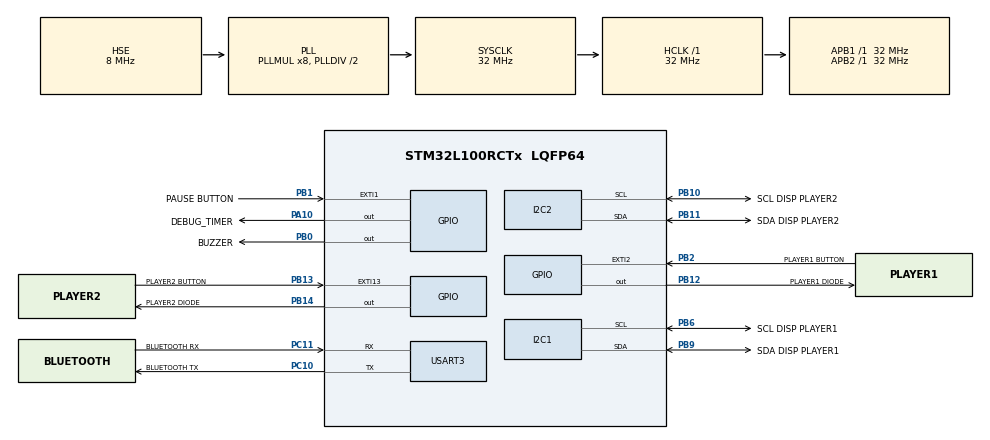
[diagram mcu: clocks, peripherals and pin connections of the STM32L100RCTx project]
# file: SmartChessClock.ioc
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Mcu.Family=STM32L1
Mcu.Name=STM32L100RCTx
Mcu.Package=LQFP64
NVIC.EXTI15_10_IRQn=true\:1\:0\:true\:true\:true\:4\:true
NVIC.EXTI1_IRQn=true\:1\:0\:true\:true\:true\:8\:true
NVIC.EXTI2_IRQn=true\:1\:0\:true\:true\:true\:7\:true
NVIC.PriorityGroup=NVIC_PRIORITYGROUP_4
NVIC.TIM10_IRQn=true\:0\:0\:false\:true\:true\:5\:true
NVIC.TIM2_IRQn=true\:1\:0\:true\:true\:true\:1\:true
NVIC.TIM3_IRQn=true\:1\:0\:true\:true\:true\:2\:true
NVIC.TIM6_IRQn=true\:0\:0\:false\:true\:true\:3\:true
NVIC.TIM9_IRQn=true\:1\:0\:true\:true\:true\:6\:true
PA10.GPIO_Label=DEBUG_TIMER
PA10.Signal=GPIO_Output
PB0.GPIO_Label=BUZZER
PB0.GPIO_Speed=GPIO_SPEED_FREQ_VERY_HIGH
PB0.PinState=GPIO_PIN_RESET
PB0.Signal=GPIO_Output
PB1.GPIO_Label=PAUSE BUTTON
PB1.GPIO_ModeDefaultEXTI=GPIO_MODE_IT_FALLING
PB1.GPIO_PuPd=GPIO_PULLUP
PB1.Signal=GPXTI1
PB10.GPIO_Label=SCL DISP PLAYER2
PB10.Mode=I2C
PB10.Signal=I2C2_SCL
PB11.GPIO_Label=SDA DISP PLAYER2
PB11.Mode=I2C
PB11.Signal=I2C2_SDA
PB12.GPIO_Label=PLAYER1 DIODE
PB12.GPIO_ModeDefaultOutputPP=GPIO_MODE_OUTPUT_PP
PB12.GPIO_PuPd=GPIO_NOPULL
PB12.GPIO_Speed=GPIO_SPEED_FREQ_LOW
PB12.PinState=GPIO_PIN_RESET
PB12.Signal=GPIO_Output
PB13.GPIO_Label=PLAYER2 BUTTON
PB13.GPIO_ModeDefaultEXTI=GPIO_MODE_IT_FALLING
PB13.GPIO_PuPd=GPIO_PULLUP
PB13.Signal=GPXTI13
PB14.GPIO_Label=PLAYER2 DIODE
PB14.GPIO_PuPd=GPIO_NOPULL
PB14.PinState=GPIO_PIN_RESET
PB14.Signal=GPIO_Output
PB2.GPIO_Label=PLAYER1 BUTTON
PB2.GPIO_ModeDefaultEXTI=GPIO_MODE_IT_FALLING
PB2.GPIO_PuPd=GPIO_PULLUP
PB2.Signal=GPXTI2
PB6.GPIO_Label=SCL DISP PLAYER1
PB6.Mode=I2C
PB6.Signal=I2C1_SCL
PB9.GPIO_Label=SDA DISP PLAYER1
PB9.Mode=I2C
PB9.Signal=I2C1_SDA
PC10.GPIO_Label=BLUETOOTH TX
PC10.Mode=Asynchronous
PC10.Signal=USART3_TX
PC11.GPIO_Label=BLUETOOTH RX
PC11.Mode=Asynchronous
PC11.Signal=USART3_RX
PH0-OSC_IN.Mode=HSE-External-Oscillator
PH0-OSC_IN.Signal=RCC_OSC_IN
PH1-OSC_OUT.Mode=HSE-External-Oscillator
PH1-OSC_OUT.Signal=RCC_OSC_OUT
ProjectManager.HeapSize=0x200
ProjectManager.StackSize=0x400
ProjectManager.TargetToolchain=SW4STM32
RCC.48MHZClocksFreq_Value=32000000
RCC.AHBFreq_Value=32000000
RCC.APB1Freq_Value=32000000
RCC.APB1TimFreq_Value=32000000
RCC.APB2Freq_Value=32000000
RCC.APB2TimFreq_Value=32000000
RCC.HCLKFreq_Value=32000000
RCC.HSE_VALUE=8000000
RCC.HSI_VALUE=16000000
RCC.LSE_VALUE=32768
RCC.MSI_VALUE=2097000
RCC.PLLMUL=RCC_PLL_MUL8
RCC.PLLSourceVirtual=RCC_PLLSOURCE_HSE
RCC.SYSCLKFreq_VALUE=32000000
RCC.SYSCLKSource=RCC_SYSCLKSOURCE_PLLCLK
RCC.VCOOutputFreq_Value=64000000
TIM10.Period=499
TIM10.Prescaler=159
TIM2.Period=999
TIM2.Prescaler=15
TIM3.Period=999
TIM3.Prescaler=159
TIM6.Period=9999
TIM6.Prescaler=799
TIM9.Period=999
TIM9.Prescaler=15
USART3.VirtualMode=VM_ASYNC
VP_TIM10_VS_ClockSourceINT.Mode=Internal
VP_TIM2_VS_ClockSourceINT.Mode=Internal
VP_TIM3_VS_ClockSourceINT.Mode=Internal
VP_TIM6_VS_ClockSourceINT.Mode=Enable_Timer
VP_TIM9_VS_ClockSourceINT.Mode=Internal
board=custom

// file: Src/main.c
/**
  ******************************************************************************
  * @file           : main.c
  * @brief          : Main program body
  ******************************************************************************
  ** This notice applies to any and all portions of this file
  * that are not between comment pairs USER CODE BEGIN and
  * USER CODE END. Other portions of this file, whether
  * inserted by the user or by software development tools
  * are owned by their respective copyright owners.
  *
  * COPYRIGHT(c) 2019 STMicroelectronics
  *
  * Redistribution and use in source and binary forms, with or without modification,
  * are permitted provided that the following conditions are met:
  *   1. Redistributions of source code must retain the above copyright notice,
  *      this list of conditions and the following disclaimer.
  *   2. Redistributions in binary form must reproduce the above copyright notice,
  *      this list of conditions and the following disclaimer in the documentation
  *      and/or other materials provided with the distribution.
  *   3. Neither the name of STMicroelectronics nor the names of its contributors
  *      may be used to endorse or promote products derived from this software
  *      without specific prior written permission.
  *
  * THIS SOFTWARE IS PROVIDED BY THE COPYRIGHT HOLDERS AND CONTRIBUTORS "AS IS"
  * AND ANY EXPRESS OR IMPLIED WARRANTIES, INCLUDING, BUT NOT LIMITED TO, THE
  * IMPLIED WARRANTIES OF MERCHANTABILITY AND FITNESS FOR A PARTICULAR PURPOSE ARE
  * DISCLAIMED. IN NO EVENT SHALL THE COPYRIGHT HOLDER OR CONTRIBUTORS BE LIABLE
  * FOR ANY DIRECT, INDIRECT, INCIDENTAL, SPECIAL, EXEMPLARY, OR CONSEQUENTIAL
  * DAMAGES (INCLUDING, BUT NOT LIMITED TO, PROCUREMENT OF SUBSTITUTE GOODS OR
  * SERVICES; LOSS OF USE, DATA, OR PROFITS; OR BUSINESS INTERRUPTION) HOWEVER
  * CAUSED AND ON ANY THEORY OF LIABILITY, WHETHER IN CONTRACT, STRICT LIABILITY,
  * OR TORT (INCLUDING NEGLIGENCE OR OTHERWISE) ARISING IN ANY WAY OUT OF THE USE
  * OF THIS SOFTWARE, EVEN IF ADVISED OF THE POSSIBILITY OF SUCH DAMAGE.
  *
  ******************************************************************************
  */
#include "main.h"
#include "stm32l1xx_hal.h"

/* USER CODE BEGIN Includes */
#include "time.h"
#include "bluetooth.h"
#include "ledDisplay1.h"
#include "ledDisplay2.h"
/* USER CODE END Includes */

I2C_HandleTypeDef hi2c1;
I2C_HandleTypeDef hi2c2;

TIM_HandleTypeDef htim2;
TIM_HandleTypeDef htim3;
TIM_HandleTypeDef htim6;
TIM_HandleTypeDef htim9;
TIM_HandleTypeDef htim10;

UART_HandleTypeDef huart3;

/* USER CODE BEGIN PV */
/* Private variables ---------------------------------------------------------*/

//PREPROCESOR
#define UI_PLAYER1_DIODE_ON		HAL_GPIO_WritePin(GPIOB, GPIO_PIN_12, GPIO_PIN_SET)		//Turning on player 1 diode
#define UI_PLAYER1_DIODE_OFF	HAL_GPIO_WritePin(GPIOB, GPIO_PIN_12, GPIO_PIN_RESET)	//Turning off player 1 diode
#define UI_PLAYER1_BUTTON		GPIO_PIN_2												//Player 1 button handle

#define UI_PLAYER2_DIODE_ON		HAL_GPIO_WritePin(GPIOB, GPIO_PIN_14, GPIO_PIN_SET)		//Turning on player 2 diode
#define UI_PLAYER2_DIODE_OFF	HAL_GPIO_WritePin(GPIOB, GPIO_PIN_14, GPIO_PIN_RESET)	//Turning off player 2 diode
#define UI_PLAYER2_BUTTON		GPIO_PIN_13												//Player 2 button handle

#define DEBUG_DIODE_ON			HAL_GPIO_WritePin(GPIOC, GPIO_PIN_8, GPIO_PIN_SET)		//Turning on the blue diode on board
#define DEBUG_DIODE_OFF			HAL_GPIO_WritePin(GPIOC, GPIO_PIN_8, GPIO_PIN_RESET)	//Turning off the blue diode on board
#define DEBUG_DIODE_TOGGLE		HAL_GPIO_TogglePin(GPIOC, GPIO_PIN_8)
#define UI_PAUSE_BUTTON			GPIO_PIN_1												//Pause button handle

#define BUZZER_ON				HAL_GPIO_WritePin(GPIOB, GPIO_PIN_0, GPIO_PIN_SET)		//Turning on buzzer
#define BUZZER_OFF				HAL_GPIO_WritePin(GPIOB, GPIO_PIN_0, GPIO_PIN_RESET)	//Turning off buzzer

//ZMIENNE GLOBALNE
extern struct _preset presets[NUMBER_OF_PRESETS]; //From the file time.h
extern struct _time PLAYER1_TIME;
extern struct _time PLAYER2_TIME;

uint8_t _player1Increment;			//Holds the amount of time in seconds to increment for player 1
uint8_t _player2Increment;			//Holds the amount of time in seconds to increment for player 2
volatile uint8_t _currentPlayer;	//Indicates the current player to move (1/2)
volatile uint8_t _pause = 1;		//Indicates if the clock is paused (1) or not (0)
volatile uint8_t _gameOver = 0;		//Indicates if one of players time ran out
volatile uint8_t _refresh = 0;		//Used for refreshing the LED displays
volatile int8_t _presetSelect = 0;	//Used as a index for the array of presets and as an indicator to different phases of selecting a preset
volatile uint8_t _displayOn;		//Indicates if the displays are on or off

/* USER CODE END PV */

void SystemClock_Config(void);
static void MX_GPIO_Init(void);
static void MX_TIM2_Init(void);
static void MX_I2C2_Init(void);
static void MX_I2C1_Init(void);
static void MX_TIM3_Init(void);
static void MX_TIM9_Init(void);
static void MX_TIM10_Init(void);
static void MX_USART3_UART_Init(void);
static void MX_TIM6_Init(void);
static void MX_NVIC_Init(void);

/* USER CODE BEGIN PFP */
/* Private function prototypes -----------------------------------------------*/

/* FUNCTIONS FOR MEASURING AND MANAGING TIME----------------------------------*/
void setClocks(int presetIndex)						//Funkcja ustawia czas obu zegarów z numeru presetu
{
	PLAYER1_TIME.minutes = 		presets[presetIndex].time.minutes;
	PLAYER1_TIME.seconds = 		presets[presetIndex].time.seconds;
	PLAYER1_TIME.miliseconds = 	presets[presetIndex].time.miliseconds;

	PLAYER2_TIME.minutes = 		presets[presetIndex].time.minutes;
	PLAYER2_TIME.seconds = 		presets[presetIndex].time.seconds;
	PLAYER2_TIME.miliseconds = 	presets[presetIndex].time.miliseconds;

	_player1Increment = presets[presetIndex].player1Increment;
	_player2Increment = presets[presetIndex].player2Increment;
}

void clockTick()	//Invokes all logic behind reducing player's to move time
{
	if(_currentPlayer == 1)
	{
		if(decrement(&PLAYER1_TIME) == 0)
		{
			;
		}
		else	//Player 1 has ran out of time
		{

			//TIM6 interrupts upon starting! That's super intended (feature) !!!
			HAL_TIM_Base_Start_IT(&htim6);	//Starts a timer that will make buzzer stop beeping and beep again a couple times

			_pause = 1;
			_gameOver = 1;
			HAL_TIM_Base_Stop_IT(&htim2);
			HAL_TIM_Base_Stop_IT(&htim9);

		}
	}

	else if(_currentPlayer == 2)
	{
		if(decrement(&PLAYER2_TIME) == 0)
		{
			;
		}
		else	//Player 2 has ran out of time
		{
			//TIM6 interrupts upon starting! That's super intended (feature) !!!
			HAL_TIM_Base_Start_IT(&htim6);	//Starts a timer that will make buzzer stop beeping and beep again a couple times

			_pause = 1;
			_gameOver = 1;
			HAL_TIM_Base_Stop_IT(&htim2);
			HAL_TIM_Base_Stop_IT(&htim9);
		}
	}
}

void clockIncrement()	//FUNCKJA INKREMENTUJĄCA CZAS ZEGARA WYWO�?YWANA W PRZERWANIU PRZYCISKÓW i całą logikę z tym związaną
{
	if(_pause == 0)	//If the game is not paused we perform incrementation of time
	{

	if(_currentPlayer == 1)
		increment(&PLAYER1_TIME, _player1Increment);

	else if(_currentPlayer == 2)
		increment(&PLAYER2_TIME, _player2Increment);

	}
}

void incrementPreset()		//Funkcja inkrementująca kursor presetu
{
	if(_presetSelect < NUMBER_OF_PRESETS)
		_presetSelect++;

	else if(_presetSelect == NUMBER_OF_PRESETS)
		_presetSelect = 0;
}

void decrementPreset()		//Funkcja dekrementująca kursor presetu
{
	if(_presetSelect > 0)
		_presetSelect--;

	else if(_presetSelect == 0)
		_presetSelect = NUMBER_OF_PRESETS;
}

/*-------------------------------------------------------------------------------------------------
FUNKCJE UI I PRZERWANIA--------------------------------------------------------------------------*/
void onDisplays()
{
	tm1637SetBrightness('8');
	tm1637SetBrightness2('8');
	_displayOn = 1;
}

void offDisplays()
{
	tm1637SetBrightness('0');
	tm1637SetBrightness2('0');
	_displayOn = 0;
}

void buzzerBeeper()
{
	static int beepCounter = 0;

	if(beepCounter % 2 == 0)	//if there is no beep
		BUZZER_ON;
	else
		BUZZER_OFF;

	++beepCounter;

	if(beepCounter >= 6)
		HAL_TIM_Base_Stop_IT(&htim6);
}

int timeToDisplay(struct _time* clock)	//Fukcja zwraca integera do wyświetlenia na ekranie
{
	if(clock->seconds < 10)
		return clock.seconds * 100 + clock.miliseconds / 10;

	else
		return clock->minutes * 100 + clock->seconds;
}

void switchTimer()				//Funkcja przełączająca timer podczas pauzowania/wznawiania gry
{
	if(_gameOver == 0)
	{
	   	DEBUG_DIODE_TOGGLE;

	   	if(_pause == 1)								//Wnowienie gry po zatrzymaniu
	   	{
	   		_pause = 0;

	   		if(_currentPlayer == 1)
	   		{
	   			HAL_TIM_Base_Start_IT(&htim2);		//Wznowienie timera odmierzającego czas graczowi 1
	   		}
	   		else if(_currentPlayer == 2)
	   		{
	   			HAL_TIM_Base_Start_IT(&htim9);
	   		}

	   	}

	   	else if(_pause == 0)						//Spauzowanie gry
	   	{
	   		_pause = 1;
	   		HAL_TIM_Base_Stop_IT(&htim2);			//Zatrzymanie timera odmierzającego czas
	   		HAL_TIM_Base_Stop_IT(&htim9);
	  	}
	 }
}

void switchPlayers()				//Funkcja zmienajaca któremu graczowi ma uplywac czas
{
	if(_gameOver == 0)				//Jeżeli gra nie dobiegła jeszcze końca
	{
		if(_currentPlayer == 1)
		{
			UI_PLAYER1_DIODE_OFF;
			UI_PLAYER2_DIODE_ON;
			clockIncrement();	//Inkrementacja czasu jest w osobnej funkcji żeby umożliwic zmianę graczy na pauzie bez dodawania czasu
			_currentPlayer = 2;
			return;
		}

		if(_currentPlayer == 2)
		{
			UI_PLAYER1_DIODE_ON;
			UI_PLAYER2_DIODE_OFF;
			clockIncrement();
			_currentPlayer = 1;
			return;
		}
	}
}

void HAL_GPIO_EXTI_Callback(uint16_t GPIO_Pin) 	//Przerwania GPIO
{
   	if(GPIO_Pin == UI_PAUSE_BUTTON)				//Wcisniecie przycisku START/STOP
   			HAL_TIM_Base_Start_IT(&htim10);

   	if(GPIO_Pin == UI_PLAYER1_BUTTON)			//Wcisniecie przycisku PLAYER1
   			HAL_TIM_Base_Start_IT(&htim10);

   	if(GPIO_Pin == UI_PLAYER2_BUTTON)			//Wcisniecie przycisku PLAYER2
   			HAL_TIM_Base_Start_IT(&htim10);
}

void HAL_TIM_PeriodElapsedCallback(TIM_HandleTypeDef *htim)	//Przerwania Timerów
{
   	if(htim->Instance == TIM2)	//Przepełnienie timera nr 2 -> upłynięcie milisekundy gracza 1
         clockTick();
         //HAL_GPIO_TogglePin(GPIOA, GPIO_PIN_10);	Można na oscyloskopie sprawdzic, czy timer odmierza dokładnie 1 ms

   	if(htim->Instance == TIM9)	//Przepełnienie timera nr 9 -> upłynięcie milisekundy gracza 2
   	     clockTick();

   	if(htim->Instance == TIM3)	//Przepełnienie timera nr 3 -> odświeżenie wyświetlaczy
   		_refresh = 1;

   	if(htim->Instance == TIM6)	//BEEP BOOP na koniec gry
   		buzzerBeeper();

   	if(htim->Instance == TIM10)	//Przepełnienie timera nr 10 -> debouncing przycisków
   	{
   		//FUNKCJA RESET - WSZYSTKIE TRZY PRZYCISKI WCIŚNI�?TE
   		if(HAL_GPIO_ReadPin(GPIOB, UI_PAUSE_BUTTON) == GPIO_PIN_RESET && HAL_GPIO_ReadPin(GPIOB, UI_PLAYER1_BUTTON) == GPIO_PIN_RESET && HAL_GPIO_ReadPin(GPIOB, UI_PLAYER2_BUTTON) == GPIO_PIN_RESET)
   		{
   			//Na razie programowo
   			int i;
   			for(i = 0; i < 1000000; ++i);

   			NVIC_SystemReset();
   		}

   		if(HAL_GPIO_ReadPin(GPIOB, UI_PAUSE_BUTTON) == GPIO_PIN_RESET)			//Przycisk pauzy
   		{
   			if(_presetSelect != -1)		//Wciśnięcie przysicku pauzy rozpoczyna rozgrywkę
   			{
   				setClocks(_presetSelect);
   				_presetSelect = -1;
   				_pause = 1;
   			}

   			else
   				switchTimer();
   		}

   		if(HAL_GPIO_ReadPin(GPIOB, UI_PLAYER1_BUTTON) == GPIO_PIN_RESET)		//Gracz 1
   		{
   			if(_presetSelect != -1)
   				decrementPreset();

   			else if(_currentPlayer == 1)
   			   	switchPlayers();
   		}

   		if(HAL_GPIO_ReadPin(GPIOB, UI_PLAYER2_BUTTON) == GPIO_PIN_RESET)		//Gracz 2
   		{
   			if(_presetSelect != -1)
   			   	incrementPreset();

   			else if(_currentPlayer == 2)
   				switchPlayers();
   		}

   	   	HAL_TIM_Base_Stop_IT(&htim10);
   	   	TIM10->CNT = 0;
   	}
}
/* USER CODE END PFP */

int main(void)
{

  /* MCU Configuration----------------------------------------------------------*/

  /* Reset of all peripherals, Initializes the Flash interface and the Systick. */
  HAL_Init();

  /* Configure the system clock */
  SystemClock_Config();

  /* Initialize all configured peripherals */
  MX_GPIO_Init();
  MX_TIM2_Init();
  MX_I2C2_Init();
  MX_I2C1_Init();
  MX_TIM3_Init();
  MX_TIM9_Init();
  MX_TIM10_Init();
  MX_USART3_UART_Init();
  MX_TIM6_Init();

  /* Initialize interrupts */
  MX_NVIC_Init();
  /* USER CODE BEGIN 2 */

  //INICJALIACJA WYŚWIETLACZY I EXTI
  tm1637Init();
  tm1637Init2();
  onDisplays();										//Włączenie obu wyświetlaczy
  __HAL_GPIO_EXTI_CLEAR_IT(UI_PLAYER1_BUTTON);		//Odświeżenie EXTI
  __HAL_GPIO_EXTI_CLEAR_IT(UI_PLAYER2_BUTTON);
  __HAL_GPIO_EXTI_CLEAR_IT(UI_PAUSE_BUTTON);

  //TIM6 interrupts upon starting! That's super intended (feature) !!!
  //Clearing the interrupt flags after timer inits ensures that timer interrupts won't be triggered uopn starting the timers
  __HAL_TIM_CLEAR_FLAG(&htim2, TIM_SR_UIF);
  __HAL_TIM_CLEAR_FLAG(&htim3, TIM_SR_UIF);
  __HAL_TIM_CLEAR_FLAG(&htim9, TIM_SR_UIF);
  __HAL_TIM_CLEAR_FLAG(&htim10, TIM_SR_UIF);

  //INICJALIZACJA ZEGARA---------------------------------------------------------------------------
  presetInit();						//Wypełnienie pamięci presetami
  HAL_TIM_Base_Start_IT(&htim3);	//Uruchomienie timera odświeżającego wyświetlacze

  //WYBÓR PRESETU CZASOWEGO------------------------------------------------------------------------
  while(1)		//Wciśnięcie przycisku pauzy rozpocznie rozgrywkę z wybranym presetem
  {
	  if(_refresh == 1)
	  {
		  tm1637DisplayDecimal(_presetSelect + 1, 0);
		  tm1637DisplayDecimal2(presets[_presetSelect].time.minutes * 100 + presets[_presetSelect].player1Increment, 1);
	  	  _refresh = 0;
	  }

	  if(_presetSelect == -1)
		  break;
  }

  _currentPlayer = 1;				//Domyślnie gracz 1 "ma ruch"
  UI_PLAYER1_DIODE_ON;				//Włączenie diody gracza 1

  /* USER CODE END 2 */

  /* Infinite loop */
  /* USER CODE BEGIN WHILE */

  //ROZGRYWKA--------------------------------------------------------------------------------------
  while (1)
  {

  /* USER CODE END WHILE */

  /* USER CODE BEGIN 3 */
	  if(_refresh == 1)
	  {
		  tm1637DisplayDecimal(timeToDisplay(&PLAYER1_TIME), !((PLAYER1_TIME.miliseconds / 500) && (_currentPlayer == 1)) || _pause);
		  tm1637DisplayDecimal2(timeToDisplay(&PLAYER2_TIME), !((PLAYER2_TIME.miliseconds / 500) && (_currentPlayer == 2)) || _pause);
		  _refresh = 0;
	  }
  }
  /* USER CODE END 3 */

}

void SystemClock_Config(void)
{

  RCC_OscInitTypeDef RCC_OscInitStruct;
  RCC_ClkInitTypeDef RCC_ClkInitStruct;

    /**Configure the main internal regulator output voltage
    */
  __HAL_PWR_VOLTAGESCALING_CONFIG(PWR_REGULATOR_VOLTAGE_SCALE1);

    /**Initializes the CPU, AHB and APB busses clocks
    */
  RCC_OscInitStruct.OscillatorType = RCC_OSCILLATORTYPE_HSE;
  RCC_OscInitStruct.HSEState = RCC_HSE_ON;
  RCC_OscInitStruct.PLL.PLLState = RCC_PLL_ON;
  RCC_OscInitStruct.PLL.PLLSource = RCC_PLLSOURCE_HSE;
  RCC_OscInitStruct.PLL.PLLMUL = RCC_PLL_MUL8;
  RCC_OscInitStruct.PLL.PLLDIV = RCC_PLL_DIV2;
  if (HAL_RCC_OscConfig(&RCC_OscInitStruct) != HAL_OK)
  {
    _Error_Handler(__FILE__, __LINE__);
  }

    /**Initializes the CPU, AHB and APB busses clocks
    */
  RCC_ClkInitStruct.ClockType = RCC_CLOCKTYPE_HCLK|RCC_CLOCKTYPE_SYSCLK
                              |RCC_CLOCKTYPE_PCLK1|RCC_CLOCKTYPE_PCLK2;
  RCC_ClkInitStruct.SYSCLKSource = RCC_SYSCLKSOURCE_PLLCLK;
  RCC_ClkInitStruct.AHBCLKDivider = RCC_SYSCLK_DIV1;
  RCC_ClkInitStruct.APB1CLKDivider = RCC_HCLK_DIV1;
  RCC_ClkInitStruct.APB2CLKDivider = RCC_HCLK_DIV1;

  if (HAL_RCC_ClockConfig(&RCC_ClkInitStruct, FLASH_LATENCY_1) != HAL_OK)
  {
    _Error_Handler(__FILE__, __LINE__);
  }

    /**Configure the Systick interrupt time
    */
  HAL_SYSTICK_Config(HAL_RCC_GetHCLKFreq()/1000);

    /**Configure the Systick
    */
  HAL_SYSTICK_CLKSourceConfig(SYSTICK_CLKSOURCE_HCLK);

  /* SysTick_IRQn interrupt configuration */
  HAL_NVIC_SetPriority(SysTick_IRQn, 0, 0);
}

/**
  * @brief NVIC Configuration.
  * @retval None
  */
static void MX_NVIC_Init(void)
{
  /* TIM2_IRQn interrupt configuration */
  HAL_NVIC_SetPriority(TIM2_IRQn, 1, 0);
  HAL_NVIC_EnableIRQ(TIM2_IRQn);
  /* TIM3_IRQn interrupt configuration */
  HAL_NVIC_SetPriority(TIM3_IRQn, 1, 0);
  HAL_NVIC_EnableIRQ(TIM3_IRQn);
  /* TIM6_IRQn interrupt configuration */
  HAL_NVIC_SetPriority(TIM6_IRQn, 0, 0);
  HAL_NVIC_EnableIRQ(TIM6_IRQn);
  /* EXTI15_10_IRQn interrupt configuration */
  HAL_NVIC_SetPriority(EXTI15_10_IRQn, 1, 0);
  HAL_NVIC_EnableIRQ(EXTI15_10_IRQn);
  /* TIM10_IRQn interrupt configuration */
  HAL_NVIC_SetPriority(TIM10_IRQn, 0, 0);
  HAL_NVIC_EnableIRQ(TIM10_IRQn);
  /* TIM9_IRQn interrupt configuration */
  HAL_NVIC_SetPriority(TIM9_IRQn, 1, 0);
  HAL_NVIC_EnableIRQ(TIM9_IRQn);
  /* EXTI2_IRQn interrupt configuration */
  HAL_NVIC_SetPriority(EXTI2_IRQn, 1, 0);
  HAL_NVIC_EnableIRQ(EXTI2_IRQn);
  /* EXTI1_IRQn interrupt configuration */
  HAL_NVIC_SetPriority(EXTI1_IRQn, 1, 0);
  HAL_NVIC_EnableIRQ(EXTI1_IRQn);
}

/* I2C1 init function */
static void MX_I2C1_Init(void)
{

  hi2c1.Instance = I2C1;
  hi2c1.Init.ClockSpeed = 100000;
  hi2c1.Init.DutyCycle = I2C_DUTYCYCLE_2;
  hi2c1.Init.OwnAddress1 = 0;
  hi2c1.Init.AddressingMode = I2C_ADDRESSINGMODE_7BIT;
  hi2c1.Init.DualAddressMode = I2C_DUALADDRESS_DISABLE;
  hi2c1.Init.OwnAddress2 = 0;
  hi2c1.Init.GeneralCallMode = I2C_GENERALCALL_DISABLE;
  hi2c1.Init.NoStretchMode = I2C_NOSTRETCH_DISABLE;
  if (HAL_I2C_Init(&hi2c1) != HAL_OK)
  {
    _Error_Handler(__FILE__, __LINE__);
  }

}

/* I2C2 init function */
static void MX_I2C2_Init(void)
{

  hi2c2.Instance = I2C2;
  hi2c2.Init.ClockSpeed = 100000;
  hi2c2.Init.DutyCycle = I2C_DUTYCYCLE_2;
  hi2c2.Init.OwnAddress1 = 0;
  hi2c2.Init.AddressingMode = I2C_ADDRESSINGMODE_7BIT;
  hi2c2.Init.DualAddressMode = I2C_DUALADDRESS_DISABLE;
  hi2c2.Init.OwnAddress2 = 0;
  hi2c2.Init.GeneralCallMode = I2C_GENERALCALL_DISABLE;
  hi2c2.Init.NoStretchMode = I2C_NOSTRETCH_DISABLE;
  if (HAL_I2C_Init(&hi2c2) != HAL_OK)
  {
    _Error_Handler(__FILE__, __LINE__);
  }

}

/* TIM2 init function */
static void MX_TIM2_Init(void)
{

  TIM_ClockConfigTypeDef sClockSourceConfig;
  TIM_MasterConfigTypeDef sMasterConfig;

  htim2.Instance = TIM2;
  htim2.Init.Prescaler = 15;
  htim2.Init.CounterMode = TIM_COUNTERMODE_UP;
  htim2.Init.Period = 999;
  htim2.Init.ClockDivision = TIM_CLOCKDIVISION_DIV1;
  if (HAL_TIM_Base_Init(&htim2) != HAL_OK)
  {
    _Error_Handler(__FILE__, __LINE__);
  }

  sClockSourceConfig.ClockSource = TIM_CLOCKSOURCE_INTERNAL;
  if (HAL_TIM_ConfigClockSource(&htim2, &sClockSourceConfig) != HAL_OK)
  {
    _Error_Handler(__FILE__, __LINE__);
  }

  sMasterConfig.MasterOutputTrigger = TIM_TRGO_RESET;
  sMasterConfig.MasterSlaveMode = TIM_MASTERSLAVEMODE_DISABLE;
  if (HAL_TIMEx_MasterConfigSynchronization(&htim2, &sMasterConfig) != HAL_OK)
  {
    _Error_Handler(__FILE__, __LINE__);
  }

}

/* TIM3 init function */
static void MX_TIM3_Init(void)
{

  TIM_ClockConfigTypeDef sClockSourceConfig;
  TIM_MasterConfigTypeDef sMasterConfig;

  htim3.Instance = TIM3;
  htim3.Init.Prescaler = 159;
  htim3.Init.CounterMode = TIM_COUNTERMODE_UP;
  htim3.Init.Period = 999;
  htim3.Init.ClockDivision = TIM_CLOCKDIVISION_DIV1;
  if (HAL_TIM_Base_Init(&htim3) != HAL_OK)
  {
    _Error_Handler(__FILE__, __LINE__);
  }

  sClockSourceConfig.ClockSource = TIM_CLOCKSOURCE_INTERNAL;
  if (HAL_TIM_ConfigClockSource(&htim3, &sClockSourceConfig) != HAL_OK)
  {
    _Error_Handler(__FILE__, __LINE__);
  }

  sMasterConfig.MasterOutputTrigger = TIM_TRGO_RESET;
  sMasterConfig.MasterSlaveMode = TIM_MASTERSLAVEMODE_DISABLE;
  if (HAL_TIMEx_MasterConfigSynchronization(&htim3, &sMasterConfig) != HAL_OK)
  {
    _Error_Handler(__FILE__, __LINE__);
  }

}

/* TIM6 init function */
static void MX_TIM6_Init(void)
{

  TIM_MasterConfigTypeDef sMasterConfig;

  htim6.Instance = TIM6;
  htim6.Init.Prescaler = 799;
  htim6.Init.CounterMode = TIM_COUNTERMODE_UP;
  htim6.Init.Period = 9999;
  if (HAL_TIM_Base_Init(&htim6) != HAL_OK)
  {
    _Error_Handler(__FILE__, __LINE__);
  }

  sMasterConfig.MasterOutputTrigger = TIM_TRGO_RESET;
  sMasterConfig.MasterSlaveMode = TIM_MASTERSLAVEMODE_DISABLE;
  if (HAL_TIMEx_MasterConfigSynchronization(&htim6, &sMasterConfig) != HAL_OK)
  {
    _Error_Handler(__FILE__, __LINE__);
  }

}

/* TIM9 init function */
static void MX_TIM9_Init(void)
{

  TIM_ClockConfigTypeDef sClockSourceConfig;
  TIM_MasterConfigTypeDef sMasterConfig;

  htim9.Instance = TIM9;
  htim9.Init.Prescaler = 15;
  htim9.Init.CounterMode = TIM_COUNTERMODE_UP;
  htim9.Init.Period = 999;
  htim9.Init.ClockDivision = TIM_CLOCKDIVISION_DIV1;
  if (HAL_TIM_Base_Init(&htim9) != HAL_OK)
  {
    _Error_Handler(__FILE__, __LINE__);
  }

  sClockSourceConfig.ClockSource = TIM_CLOCKSOURCE_INTERNAL;
  if (HAL_TIM_ConfigClockSource(&htim9, &sClockSourceConfig) != HAL_OK)
  {
    _Error_Handler(__FILE__, __LINE__);
  }

  sMasterConfig.MasterOutputTrigger = TIM_TRGO_RESET;
  sMasterConfig.MasterSlaveMode = TIM_MASTERSLAVEMODE_DISABLE;
  if (HAL_TIMEx_MasterConfigSynchronization(&htim9, &sMasterConfig) != HAL_OK)
  {
    _Error_Handler(__FILE__, __LINE__);
  }

}

/* TIM10 init function */
static void MX_TIM10_Init(void)
{

  TIM_ClockConfigTypeDef sClockSourceConfig;

  htim10.Instance = TIM10;
  htim10.Init.Prescaler = 159;
  htim10.Init.CounterMode = TIM_COUNTERMODE_UP;
  htim10.Init.Period = 499;
  htim10.Init.ClockDivision = TIM_CLOCKDIVISION_DIV1;
  if (HAL_TIM_Base_Init(&htim10) != HAL_OK)
  {
    _Error_Handler(__FILE__, __LINE__);
  }

  sClockSourceConfig.ClockSource = TIM_CLOCKSOURCE_INTERNAL;
  if (HAL_TIM_ConfigClockSource(&htim10, &sClockSourceConfig) != HAL_OK)
  {
    _Error_Handler(__FILE__, __LINE__);
  }

}

/* USART3 init function */
static void MX_USART3_UART_Init(void)
{

  huart3.Instance = USART3;
  huart3.Init.BaudRate = 115200;
  huart3.Init.WordLength = UART_WORDLENGTH_8B;
  huart3.Init.StopBits = UART_STOPBITS_1;
  huart3.Init.Parity = UART_PARITY_NONE;
  huart3.Init.Mode = UART_MODE_TX_RX;
  huart3.Init.HwFlowCtl = UART_HWCONTROL_NONE;
  huart3.Init.OverSampling = UART_OVERSAMPLING_16;
  if (HAL_UART_Init(&huart3) != HAL_OK)
  {
    _Error_Handler(__FILE__, __LINE__);
  }

}

/** Configure pins as
        * Analog
        * Input
        * Output
        * EVENT_OUT
        * EXTI
*/
static void MX_GPIO_Init(void)
{

  GPIO_InitTypeDef GPIO_InitStruct;

  /* GPIO Ports Clock Enable */
  __HAL_RCC_GPIOH_CLK_ENABLE();
  __HAL_RCC_GPIOB_CLK_ENABLE();
  __HAL_RCC_GPIOA_CLK_ENABLE();
  __HAL_RCC_GPIOC_CLK_ENABLE();

  /*Configure GPIO pin Output Level */
  HAL_GPIO_WritePin(GPIOB, BUZZER_Pin|PLAYER1_DIODE_Pin|PLAYER2_DIODE_Pin, GPIO_PIN_RESET);

  /*Configure GPIO pin Output Level */
  HAL_GPIO_WritePin(DEBUG_TIMER_GPIO_Port, DEBUG_TIMER_Pin, GPIO_PIN_RESET);

  /*Configure GPIO pin : BUZZER_Pin */
  GPIO_InitStruct.Pin = BUZZER_Pin;
  GPIO_InitStruct.Mode = GPIO_MODE_OUTPUT_PP;
  GPIO_InitStruct.Pull = GPIO_NOPULL;
  GPIO_InitStruct.Speed = GPIO_SPEED_FREQ_VERY_HIGH;
  HAL_GPIO_Init(BUZZER_GPIO_Port, &GPIO_InitStruct);

  /*Configure GPIO pins : PAUSE_BUTTON_Pin PLAYER1_BUTTON_Pin PLAYER2_BUTTON_Pin */
  GPIO_InitStruct.Pin = PAUSE_BUTTON_Pin|PLAYER1_BUTTON_Pin|PLAYER2_BUTTON_Pin;
  GPIO_InitStruct.Mode = GPIO_MODE_IT_FALLING;
  GPIO_InitStruct.Pull = GPIO_PULLUP;
  HAL_GPIO_Init(GPIOB, &GPIO_InitStruct);

  /*Configure GPIO pins : PLAYER1_DIODE_Pin PLAYER2_DIODE_Pin */
  GPIO_InitStruct.Pin = PLAYER1_DIODE_Pin|PLAYER2_DIODE_Pin;
  GPIO_InitStruct.Mode = GPIO_MODE_OUTPUT_PP;
  GPIO_InitStruct.Pull = GPIO_NOPULL;
  GPIO_InitStruct.Speed = GPIO_SPEED_FREQ_LOW;
  HAL_GPIO_Init(GPIOB, &GPIO_InitStruct);

  /*Configure GPIO pin : DEBUG_TIMER_Pin */
  GPIO_InitStruct.Pin = DEBUG_TIMER_Pin;
  GPIO_InitStruct.Mode = GPIO_MODE_OUTPUT_PP;
  GPIO_InitStruct.Pull = GPIO_NOPULL;
  GPIO_InitStruct.Speed = GPIO_SPEED_FREQ_LOW;
  HAL_GPIO_Init(DEBUG_TIMER_GPIO_Port, &GPIO_InitStruct);

}

void _Error_Handler(char *file, int line)
{
  while(1)
  {
  }
}

/************************ (C) COPYRIGHT STMicroelectronics *****END OF FILE****/
